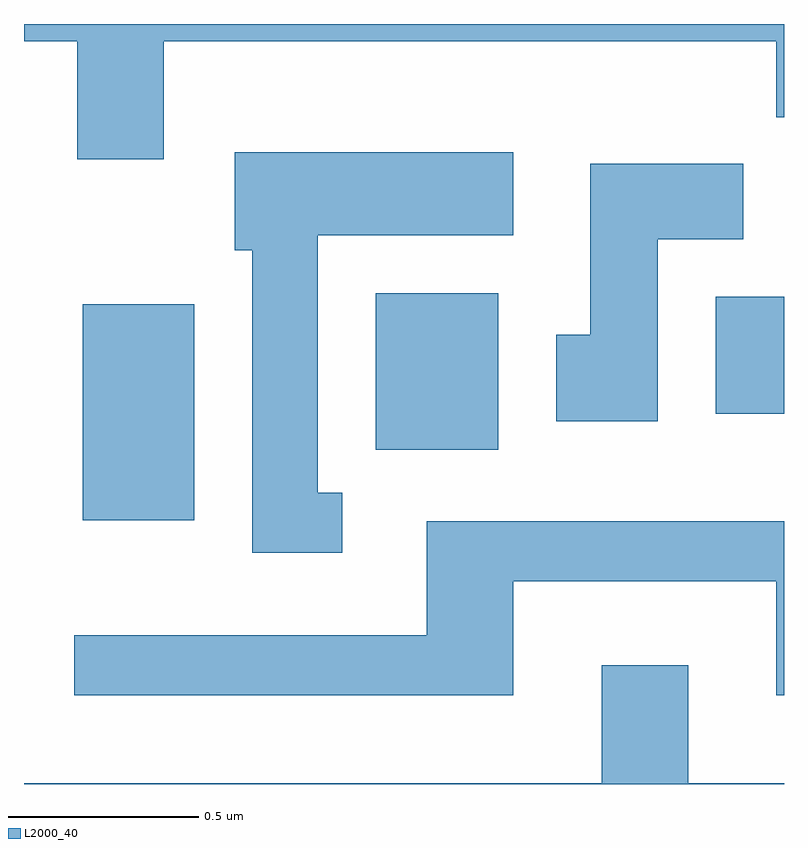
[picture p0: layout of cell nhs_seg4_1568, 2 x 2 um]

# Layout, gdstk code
import gdstk
lib = gdstk.Library(unit=1e-6, precision=1e-09)
def R(c, l, rs):  # rectangles x0, y0, x1, y1
    for r in rs: c.add(gdstk.rectangle(r[:2], r[2:], *l))
def P(c, l, *ps):  # polygons
    for p in ps: c.add(gdstk.Polygon(p, *l))
L2000_40 = (2000, 40)

nhs_seg4_1568 = lib.new_cell('nhs_seg4_1568')
R(nhs_seg4_1568, L2000_40, [(196.766,1315.676,197.059,1316.244), (197.536,1315.861,197.859,1316.274), (198.431,1315.956,198.611,1316.264)])
P(nhs_seg4_1568, L2000_40, [(196.979,1316.936),(198.591,1316.936),(198.591,1316.736),(198.611,1316.736),(198.611,1316.982),(196.611,1316.982),(196.611,1316.936),(196.751,1316.936),(196.751,1316.626),(196.979,1316.626)],
  [(197.448,1315.749),(197.384,1315.749),(197.384,1316.426),(197.899,1316.426),(197.899,1316.644),(197.166,1316.644),(197.166,1316.386),(197.211,1316.386),(197.211,1315.591),(197.448,1315.591)],
  [(198.279,1316.416),(198.504,1316.416),(198.504,1316.614),(198.101,1316.614),(198.101,1316.164),(198.011,1316.164),(198.011,1315.936),(198.279,1315.936)],
  [(197.899,1315.516),(198.591,1315.516),(198.591,1315.216),(198.611,1315.216),(198.611,1315.674),(197.671,1315.674),(197.671,1315.374),(196.743,1315.374),(196.743,1315.216),(197.899,1315.216)],
  [(198.611,1314.984),(198.359,1314.984),(198.359,1315.294),(198.131,1315.294),(198.131,1314.984),(196.611,1314.984),(196.611,1314.982),(198.611,1314.982)])

lib.write_gds('nhs_seg4_1568.gds')
